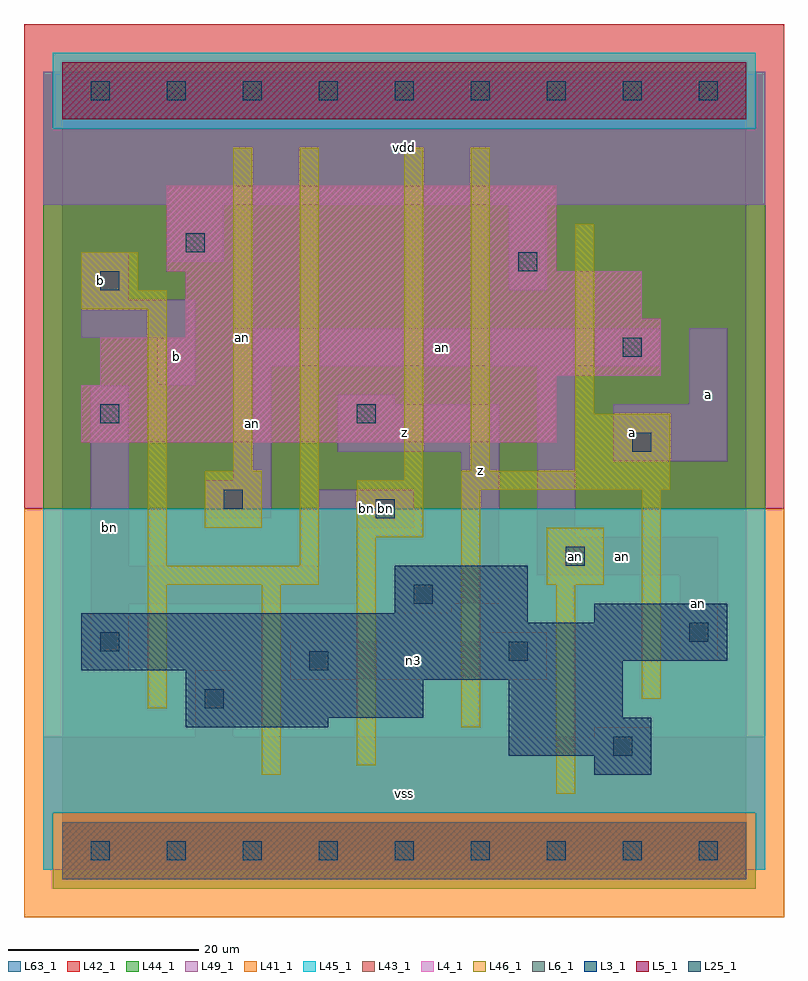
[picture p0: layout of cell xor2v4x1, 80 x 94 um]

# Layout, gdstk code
import gdstk
lib = gdstk.Library(unit=1e-6, precision=1e-09)
def R(c, l, rs):  # rectangles x0, y0, x1, y1
    for r in rs: c.add(gdstk.rectangle(r[:2], r[2:], *l))
def A(c, l, x, y, w, h, nx, ny, dx, dy):  # array of equal rectangles
    R(c, l, [(x+i*dx, y+j*dy, x+i*dx+w, y+j*dy+h) for i in range(nx) for j in range(ny)])
L3_1 = (3, 1)
L4_1 = (4, 1)
L5_1 = (5, 1)
L6_1 = (6, 1)
L25_1 = (25, 1)
L41_1 = (41, 1)
L42_1 = (42, 1)
L43_1 = (43, 1)
L44_1 = (44, 1)
L45_1 = (45, 1)
L46_1 = (46, 1)
L49_1 = (49, 1)
L63_1 = (63, 1)

xor2v4x1 = lib.new_cell('xor2v4x1')
R(xor2v4x1, L3_1, [(56,8,62,10), (47,10,62,14), (13,13,28,14), (13,14,38,18), (47,14,59,18), (13,18,59,19), (2,19,59,20), (2,20,70,24), (2,24,49,25), (56,24,70,26), (35,25,49,30)])
R(xor2v4x1, L4_1, [(2,43,52,49), (4,49,52,50), (4,50,63,54), (13,54,63,56), (13,56,61,61), (11,61,52,70)])
R(xor2v4x1, L5_1, [(0,77,72,83)])
R(xor2v4x1, L6_1, [(0,-3,72,3), (0,-3,72,3)])
A(xor2v4x1, L25_1, 3, -1, 2, 2, 9, 2, 8, 80)
R(xor2v4x1, L25_1, [(58,10,60,12), (15,15,17,17), (26,19,28,21), (47,20,49,22), (4,21,6,23), (66,22,68,24), (37,26,39,28), (53,30,55,32), (33,35,35,37), (17,36,19,38), (60,42,62,44), (4,45,6,47), (31,45,33,47), (59,52,61,54), (4,59,6,61), (48,61,50,63), (13,63,15,65)])
R(xor2v4x1, L41_1, [(-4,-7,76,36)])
R(xor2v4x1, L42_1, [(-4,36,76,87)])
R(xor2v4x1, L43_1, [(0,-3,72,3), (56,8,62,10), (47,10,62,14), (13,13,28,14), (13,14,38,18), (47,14,59,18), (13,18,59,19), (2,19,59,20), (2,20,70,24), (2,24,49,25), (56,24,70,26), (35,25,49,30), (2,43,52,49), (4,49,52,50), (4,50,63,54), (13,54,63,56), (13,56,61,61), (11,61,52,70), (0,77,72,83)])
R(xor2v4x1, L44_1, [(-1,-4,73,4), (-2,36,74,76), (-2,76,-1,82), (73,76,74,82)])
R(xor2v4x1, L45_1, [(-2,-2,-1,4), (73,-2,74,4), (-2,4,74,36), (-1,76,73,84)])
R(xor2v4x1, L46_1, [(52,6,54,28), (21,8,23,28), (31,9,33,33), (42,13,44,38), (9,15,11,28), (61,16,63,38), (9,28,27,30), (51,28,57,34), (9,30,11,57), (25,30,27,74), (31,33,38,39), (15,34,21,40), (42,38,64,40), (36,39,38,74), (18,40,20,74), (43,40,45,74), (54,40,64,46), (54,46,56,66), (2,57,11,59), (2,59,8,63)])
R(xor2v4x1, L49_1, [(-2,-2,74,12), (14,12,18,19), (56,12,62,13), (24,18,51,22), (3,19,7,26), (65,20,69,29), (45,22,51,23), (35,25,41,26), (3,26,31,30), (35,26,46,30), (50,29,69,33), (3,30,7,49), (27,30,31,34), (42,30,46,42), (50,33,54,51), (27,34,37,38), (15,35,22,39), (18,39,22,51), (58,41,70,47), (29,42,46,47), (29,47,35,48), (66,47,70,55), (10,49,14,54), (18,51,63,55), (2,54,14,58), (2,58,7,63), (47,59,51,68), (11,62,17,68), (-2,68,74,82)])
R(xor2v4x1, L63_1, [(0,0,72,80)])
xor2v4x1.add(gdstk.Label('an', (19,54), layer=46, texttype=1))
xor2v4x1.add(gdstk.Label('bn', (34,36), layer=49, texttype=1))
xor2v4x1.add(gdstk.Label('an', (54,31), layer=49, texttype=1))
xor2v4x1.add(gdstk.Label('bn', (5,34), layer=49, texttype=1))
xor2v4x1.add(gdstk.Label('b', (4,60), layer=49, texttype=1))
xor2v4x1.add(gdstk.Label('an', (20,45), layer=49, texttype=1))
xor2v4x1.add(gdstk.Label('b', (12,52), layer=49, texttype=1))
xor2v4x1.add(gdstk.Label('vss', (36,6), layer=49, texttype=1))
xor2v4x1.add(gdstk.Label('bn', (32,36), layer=49, texttype=1))
xor2v4x1.add(gdstk.Label('z', (36,44), layer=49, texttype=1))
xor2v4x1.add(gdstk.Label('vdd', (36,74), layer=49, texttype=1))
xor2v4x1.add(gdstk.Label('n3', (37,20), layer=49, texttype=1))
xor2v4x1.add(gdstk.Label('z', (44,40), layer=49, texttype=1))
xor2v4x1.add(gdstk.Label('an', (67,26), layer=49, texttype=1))
xor2v4x1.add(gdstk.Label('an', (59,31), layer=49, texttype=1))
xor2v4x1.add(gdstk.Label('a', (60,44), layer=49, texttype=1))
xor2v4x1.add(gdstk.Label('a', (68,48), layer=49, texttype=1))
xor2v4x1.add(gdstk.Label('an', (40,53), layer=49, texttype=1))

lib.write_gds('xor2v4x1.gds')
